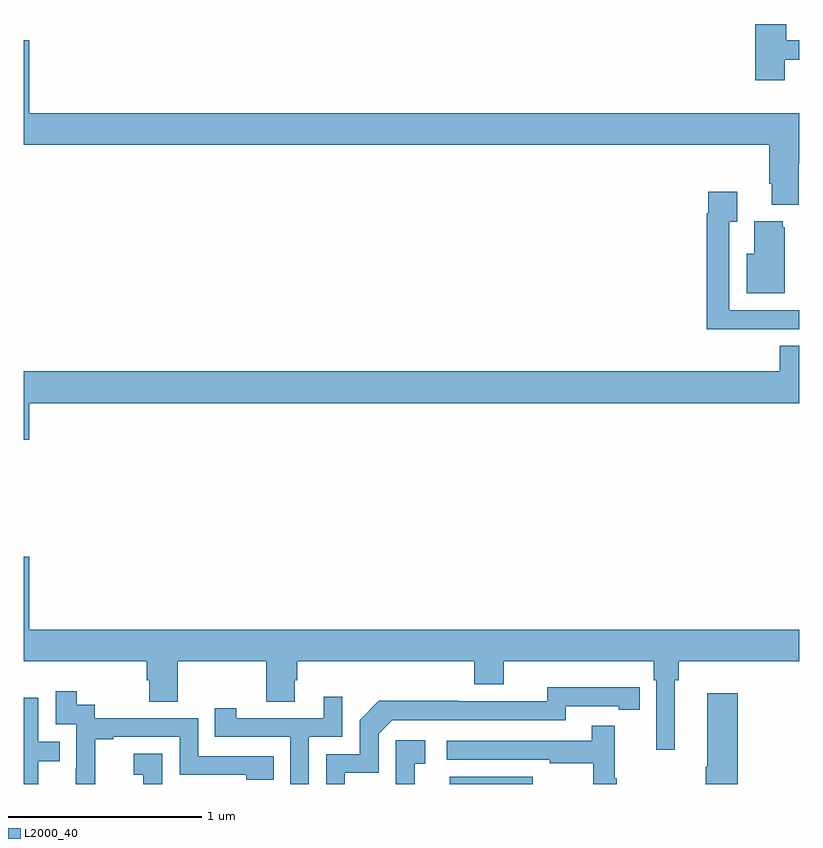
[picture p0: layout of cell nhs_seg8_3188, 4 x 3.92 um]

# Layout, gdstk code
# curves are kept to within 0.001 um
import gdstk
lib = gdstk.Library(unit=1e-6, precision=1e-09)
def R(c, l, rs):  # rectangles x0, y0, x1, y1
    for r in rs: c.add(gdstk.rectangle(r[:2], r[2:], *l))
def P(c, l, *ps):  # polygons
    for p in ps: c.add(gdstk.Polygon(p, *l))
L2000_40 = (2000, 40)

nhs_seg8_3188 = lib.new_cell('nhs_seg8_3188')
R(nhs_seg8_3188, L2000_40, [(311.198,1083.9,311.626,1083.937)])
P(nhs_seg8_3188, L2000_40, [(312.925,1087.635),(313,1087.635),(313,1087.735),(312.933,1087.735),(312.933,1087.819),(312.773,1087.819),(312.773,1087.53),(312.925,1087.53)],
  [(312.997,1087.1),(313,1087.1),(313,1087.36),(309.028,1087.36),(309.028,1087.735),(309,1087.735),(309,1087.196),(312.845,1087.196),(312.845,1086.994),(312.857,1086.994),(312.857,1086.887),(312.997,1086.887)],
  [(312.815,1086.246),(313,1086.246),(313,1086.342),(312.639,1086.342),(312.639,1086.799),(312.679,1086.799),(312.679,1086.955),(312.531,1086.955),(312.531,1086.842),(312.523,1086.842),(312.523,1086.245),(312.815,1086.245)],
  [(312.925,1086.771),(312.914,1086.771),(312.914,1086.802),(312.767,1086.802),(312.767,1086.634),(312.728,1086.634),(312.728,1086.431),(312.925,1086.431)],
  [(309.028,1085.864),(313,1085.864),(313,1086.161),(312.899,1086.161),(312.899,1086.028),(309,1086.028),(309,1085.676),(309.028,1085.676)],
  [(312.358,1084.436),(312.377,1084.436),(312.377,1084.532),(313,1084.532),(313,1084.696),(309.028,1084.696),(309.028,1085.071),(309,1085.071),(309,1084.532),(309.635,1084.532),(309.635,1084.434),(309.647,1084.434),(309.647,1084.324),(309.795,1084.324),(309.795,1084.532),(310.252,1084.532),(310.252,1084.324),(310.399,1084.324),(310.399,1084.434),(310.412,1084.434),(310.412,1084.532),(311.324,1084.532),(311.324,1084.415),(311.476,1084.415),(311.476,1084.532),(312.248,1084.532),(312.248,1084.436),(312.261,1084.436),(312.261,1084.077),(312.358,1084.077)],
  [(310.657,1083.957),(310.83,1083.957),(310.83,1084.158),(310.902,1084.23),(311.796,1084.23),(311.796,1084.302),(312.068,1084.302),(312.068,1084.282),(312.176,1084.282),(312.176,1084.398),(311.7,1084.399),(311.7,1084.326),(311.24,1084.326),(311.24,1084.328),(310.832,1084.328),(310.734,1084.23),(310.734,1084.053),(310.56,1084.053),(310.56,1083.9),(310.657,1083.9)],
  [(309.368,1084.131),(309.463,1084.131),(309.463,1084.143),(309.804,1084.143),(309.804,1083.948),(310.149,1083.948),(310.149,1083.921),(310.289,1083.921),(310.289,1084.044),(309.9,1084.044),(309.9,1084.239),(309.366,1084.239),(309.366,1084.308),(309.274,1084.308),(309.274,1084.378),(309.165,1084.378),(309.165,1084.209),(309.27,1084.209),(309.27,1083.98),(309.269,1083.98),(309.269,1083.9),(309.368,1083.9)],
  [(312.683,1084.369),(312.524,1084.369),(312.524,1083.989),(312.517,1083.989),(312.517,1083.9),(312.683,1083.9)],
  [(310.47,1084.143),(310.644,1084.143),(310.644,1084.351),(310.547,1084.351),(310.547,1084.239),(310.096,1084.239),(310.096,1084.291),(309.985,1084.291),(309.985,1084.143),(310.374,1084.143),(310.374,1083.9),(310.47,1083.9)],
  [(309.075,1084.018),(309.185,1084.018),(309.185,1084.119),(309.075,1084.119),(309.075,1084.344),(309,1084.344),(309,1083.9),(309.075,1083.9)],
  [(312.058,1083.929),(312.047,1083.929),(312.047,1084.201),(311.929,1084.201),(311.929,1084.122),(311.181,1084.122),(311.181,1084.026),(311.713,1084.026),(311.713,1084.006),(311.937,1084.006),(311.937,1083.9),(312.058,1083.9)],
  [(311.018,1084.005),(311.071,1084.005),(311.071,1084.126),(310.92,1084.126),(310.92,1083.9),(311.018,1083.9)],
  [(309.714,1084.057),(309.567,1084.057),(309.567,1083.947),(309.616,1083.947),(309.616,1083.9),(309.714,1083.9)])

lib.write_gds('nhs_seg8_3188.gds')
